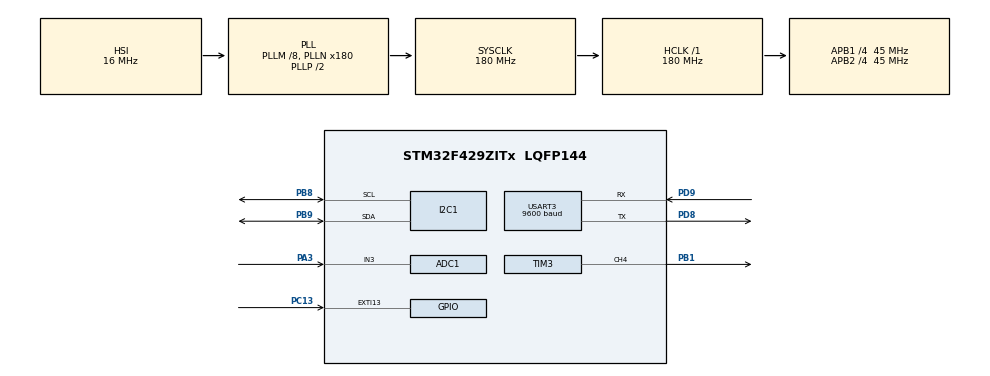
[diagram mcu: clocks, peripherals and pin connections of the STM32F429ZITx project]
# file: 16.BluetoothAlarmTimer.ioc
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ADC1.Channel-2\#ChannelRegularConversion=ADC_CHANNEL_3
ADC1.ExternalTrigConv=ADC_EXTERNALTRIGCONV_T2_TRGO
ADC1.NbrOfConversionFlag=1
ADC1.Rank-2\#ChannelRegularConversion=1
ADC1.SamplingTime-2\#ChannelRegularConversion=ADC_SAMPLETIME_3CYCLES
ADC1.master=1
Mcu.Family=STM32F4
Mcu.Name=STM32F429ZITx
Mcu.Package=LQFP144
NVIC.EXTI15_10_IRQn=true\:0\:0\:false\:true\:true\:4\:true\:true\:true
NVIC.PriorityGroup=NVIC_PRIORITYGROUP_4
NVIC.RCC_IRQn=true\:0\:0\:false\:true\:true\:1\:true\:false\:true
NVIC.TIM2_IRQn=true\:0\:0\:false\:true\:true\:2\:true\:true\:true
NVIC.USART3_IRQn=true\:0\:0\:false\:true\:true\:3\:true\:true\:true
PA13.Mode=Serial_Wire
PA13.Signal=SYS_JTMS-SWDIO
PA14.Mode=Serial_Wire
PA14.Signal=SYS_JTCK-SWCLK
PA3.Signal=ADCx_IN3
PB1.Signal=S_TIM3_CH4
PB8.GPIO_Pu=GPIO_PULLUP
PB8.Mode=I2C
PB8.Signal=I2C1_SCL
PB9.GPIO_Pu=GPIO_PULLUP
PB9.Mode=I2C
PB9.Signal=I2C1_SDA
PC13.GPIO_ModeDefaultEXTI=GPIO_MODE_IT_RISING_FALLING
PC13.Signal=GPXTI13
PC14/OSC32_IN.Mode=LSE-External-Oscillator
PC14/OSC32_IN.Signal=RCC_OSC32_IN
PC15/OSC32_OUT.Mode=LSE-External-Oscillator
PC15/OSC32_OUT.Signal=RCC_OSC32_OUT
PD8.Mode=Asynchronous
PD8.Signal=USART3_TX
PD9.Mode=Asynchronous
PD9.Signal=USART3_RX
ProjectManager.HeapSize=0x200
ProjectManager.StackSize=0x400
ProjectManager.TargetToolchain=STM32CubeIDE
RCC.48MHZClocksFreq_Value=90000000
RCC.AHBFreq_Value=180000000
RCC.APB1CLKDivider=RCC_HCLK_DIV4
RCC.APB1Freq_Value=45000000
RCC.APB1TimFreq_Value=90000000
RCC.APB2CLKDivider=RCC_HCLK_DIV4
RCC.APB2Freq_Value=45000000
RCC.APB2TimFreq_Value=90000000
RCC.CortexFreq_Value=180000000
RCC.HCLKFreq_Value=180000000
RCC.HSE_VALUE=25000000
RCC.HSI_VALUE=16000000
RCC.PLLM=8
RCC.PLLN=180
RCC.RCC_RTC_Clock_Source=RCC_RTCCLKSOURCE_LSE
RCC.RCC_RTC_Clock_SourceVirtual=RCC_RTCCLKSOURCE_LSE
RCC.SYSCLKFreq_VALUE=180000000
RCC.SYSCLKSource=RCC_SYSCLKSOURCE_PLLCLK
RCC.VCOOutputFreq_Value=360000000
RTC.Date=9
RTC.Format=RTC_FORMAT_BCD
RTC.HourFormat=RTC_HOURFORMAT_12
RTC.Hours=12
RTC.Month=RTC_MONTH_JUNE
RTC.WeekDay=RTC_WEEKDAY_THURSDAY
RTC.Year=22
SH.ADCx_IN3.0=ADC1_IN3,IN3
SH.S_TIM3_CH4.0=TIM3_CH4,PWM Generation4 CH4
TIM2.Period=900-1
TIM2.Prescaler=10000-1
TIM2.TIM_MasterOutputTrigger=TIM_TRGO_UPDATE
TIM2.TIM_MasterSlaveMode=TIM_MASTERSLAVEMODE_ENABLE
TIM3.Channel-PWM\ Generation4\ CH4=TIM_CHANNEL_4
TIM3.CounterMode=TIM_COUNTERMODE_DOWN
TIM3.Period=1000-1
TIM3.Prescaler=180-1
USART3.BaudRate=9600
USART3.VirtualMode=VM_ASYNC
VP_RTC_VS_RTC_Activate.Mode=RTC_Enabled
VP_RTC_VS_RTC_Calendar.Mode=RTC_Calendar
VP_TIM2_VS_ClockSourceINT.Mode=Internal
VP_TIM3_VS_ClockSourceINT.Mode=Internal
board=custom

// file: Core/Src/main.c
/* USER CODE BEGIN Header */
/**
 ******************************************************************************
 * @file           : main.c
 * @brief          : Main program body
 ******************************************************************************
 * @attention
 *
 * Copyright (c) 2022 STMicroelectronics.
 * All rights reserved.
 *
 * This software is licensed under terms that can be found in the LICENSE file
 * in the root directory of this software component.
 * If no LICENSE file comes with this software, it is provided AS-IS.
 *
 ******************************************************************************
 */
/* USER CODE END Header */
#include "main.h"
#include "adc.h"
#include "i2c.h"
#include "rtc.h"
#include "tim.h"
#include "usart.h"
#include "gpio.h"

/* USER CODE BEGIN Includes */
#include "string.h"
#include "stdio.h"
#include "LCD.h"

#define LONG_CLICK_MIN 1500  //1.5sec
#define LONG_CLICK_MAX 5000  //5sec

#define DOUBLE_CLICK_MIN 20
#define DOUBLE_CLICK_MAX 120

//flash 메모리 Bank1,Bank2

/* Base address of the Flash sectors Bank 1 */
#define ADDR_FLASH_SECTOR_0     ((uint32_t*)0x08000000) /* Base @ of Sector 0, 16 Kbytes */
#define ADDR_FLASH_SECTOR_1     ((uint32_t*)0x08004000) /* Base @ of Sector 1, 16 Kbytes */
#define ADDR_FLASH_SECTOR_2     ((uint32_t*)0x08008000) /* Base @ of Sector 2, 16 Kbytes */
#define ADDR_FLASH_SECTOR_3     ((uint32_t*)0x0800C000) /* Base @ of Sector 3, 16 Kbytes */
#define ADDR_FLASH_SECTOR_4     ((uint32_t*)0x08010000) /* Base @ of Sector 4, 64 Kbytes */
#define ADDR_FLASH_SECTOR_5     ((uint32_t*)0x08020000) /* Base @ of Sector 5, 128 Kbytes */
#define ADDR_FLASH_SECTOR_6     ((uint32_t*)0x08040000) /* Base @ of Sector 6, 128 Kbytes */
#define ADDR_FLASH_SECTOR_7     ((uint32_t*)0x08060000) /* Base @ of Sector 7, 128 Kbytes */
#define ADDR_FLASH_SECTOR_8     ((uint32_t*)0x08080000) /* Base @ of Sector 8, 128 Kbytes */
#define ADDR_FLASH_SECTOR_9     ((uint32_t*)0x080A0000) /* Base @ of Sector 9, 128 Kbytes */
#define ADDR_FLASH_SECTOR_10    ((uint32_t*)0x080C0000) /* Base @ of Sector 10, 128 Kbytes */
#define ADDR_FLASH_SECTOR_11    ((uint32_t*)0x080E0000) /* Base @ of Sector 11, 128 Kbytes */

/* Base address of the Flash sectors Bank 2 */
#define ADDR_FLASH_SECTOR_12     ((uint32_t*)0x08100000) /* Base @ of Sector 0, 16 Kbytes */
#define ADDR_FLASH_SECTOR_13     ((uint32_t*)0x08104000) /* Base @ of Sector 1, 16 Kbytes */
#define ADDR_FLASH_SECTOR_14     ((uint32_t*)0x08108000) /* Base @ of Sector 2, 16 Kbytes */
#define ADDR_FLASH_SECTOR_15     ((uint32_t*)0x0810C000) /* Base @ of Sector 3, 16 Kbytes */
#define ADDR_FLASH_SECTOR_16     ((uint32_t*)0x08110000) /* Base @ of Sector 4, 64 Kbytes */
#define ADDR_FLASH_SECTOR_17     ((uint32_t*)0x08120000) /* Base @ of Sector 5, 128 Kbytes */
#define ADDR_FLASH_SECTOR_18     ((uint32_t*)0x08140000) /* Base @ of Sector 6, 128 Kbytes */
#define ADDR_FLASH_SECTOR_19     ((uint32_t*)0x08160000) /* Base @ of Sector 7, 128 Kbytes */
#define ADDR_FLASH_SECTOR_20     ((uint32_t*)0x08180000) /* Base @ of Sector 8, 128 Kbytes  */
#define ADDR_FLASH_SECTOR_21     ((uint32_t*)0x081A0000) /* Base @ of Sector 9, 128 Kbytes  */
#define ADDR_FLASH_SECTOR_22     ((uint32_t*)0x081C0000) /* Base @ of Sector 10, 128 Kbytes */
#define ADDR_FLASH_SECTOR_23     ((uint32_t*)0x081E0000) /* Base @ of Sector 11, 128 Kbytes */

//23->22->21.... 사용

#define MAGIC_NUM 0xdeadbeef
#define nv_items ((NVitemTypeDef*)ADDR_FLASH_SECTOR_23)

/* USER CODE END Includes */

/* USER CODE BEGIN PV */

char temp[100];
char ampm[2][3] = { "AM", "PM" };
RTC_TimeTypeDef sTime = { 0 };
RTC_DateTypeDef sDate = { 0 };

uint16_t ADC_Value;

uint32_t last_time;
uint32_t current_time;
uint32_t time_interval;
uint32_t last_time_interval;

uint8_t cursor_change = 0;
uint8_t mode_flag = 0;
uint8_t setting_flag = 0;
uint8_t Alarm_flag = 0;
uint8_t hfsec_flag = 0;

uint32_t timer = 0;
uint32_t timer_hfsec = 0;
uint32_t timer_flag = 0;

uint32_t value;

typedef enum {
	UP = 1, DOWN, RIGHT, LEFT, BASIC
} Clock_button;

typedef enum {
	NORMAL = 0, TIME_SETTING, ALARM_TIME_SETTING, MUSIC_SELECT
} Clock_mode;

typedef enum {
	Three_Bears = 0, Spring_Water
} Clock_music;

typedef struct {
	Clock_mode mode;
	Clock_button button;
	Clock_music music;
} Clock_state;

typedef struct {
	int16_t Hour1;
	int16_t Hour2;
	int16_t Min1;
	int16_t Min2;
	int16_t Sec1;
	int16_t Sec2;
	int16_t Ampm;

} Clock_time;

typedef struct {
	int32_t time;
	GPIO_PinState level;
} ClickInfoDef;

typedef struct{
	uint32_t magic_num;
	Clock_time setting_time;
	Clock_time alarm_time;
	int8_t alarm_music_num;
}NVitemTypeDef;

ClickInfoDef click[3];

Clock_state now_state;

enum notes {
	C = 956, D = 852, E = 758, F = 716, G = 638
};

uint16_t music1_notes[]={
		F,G,G,E,E,D,D,C,C,C,D,E,F,G,G,E,E,D,D,C,C,F,G,D,C,C,C,C,G,D,D,D,G,D,G,G,F,E,C,F,E,C,F,E,D,D,F,G,G,E,E
		,D,D,C,C,C,D,E,F,G,G,E,E,D,D,C,D,D,C,G
};

uint8_t music1_notes_length = sizeof(music1_notes)/sizeof(uint16_t);

NVitemTypeDef default_nvitem = {
		MAGIC_NUM,
		{0,0,0},
		{0,0,0},
		0
};

//uint32_t music2_notes[]={
//
//};

/*
 * 파솔솔미미 레레 도도 도레 미 파솔 솔 미미 레레 도 도 파 솔 레 도 라도도 도라 솔레레 레솔 솔 파
 * 미도 파 미도 파 미 레 레 파솔솔미미 레레 도도 도레 미 파솔 솔 미미 레레 도 레 레 도 솔
 */

/* USER CODE END PV */

void SystemClock_Config(void);
static void MX_NVIC_Init(void);
/* USER CODE BEGIN PFP */
void ADC_button();
void LCD_Cursor(int rownum, int column);
void blink(uint8_t location,Clock_time* buf_time);
void set_time(Clock_time* now_time);
uint16_t Up_Down_value_limit(int16_t value);
void init_time();
void clock(Clock_time* buf_time,Clock_time* now_time,Clock_time* alarm_time);
void Normal_mode(Clock_time* alarm_time);
void Time_or_Alarm_change_mode(Clock_time* buf_time,Clock_time* now_time,Clock_time* alarm_time);
void Music_select_mode();
void Alarm(Clock_time* alarm_time);

void Alarm_Spring_Water_paly();
void Alarm_Three_Bears_play();

/* USER CODE END PFP */

/* USER CODE BEGIN 0 */

int __io_putchar(int ch) {
	HAL_UART_Transmit(&huart3, &ch, 1, 1000);
	return ch;
}

/* USER CODE END 0 */

int main(void) {

	/* MCU Configuration--------------------------------------------------------*/

	/* Reset of all peripherals, Initializes the Flash interface and the Systick. */
	HAL_Init();

	/* Configure the system clock */
	SystemClock_Config();

	/* Initialize all configured peripherals */
	MX_GPIO_Init();
	MX_ADC1_Init();
	MX_RTC_Init();
	MX_USART3_UART_Init();
	MX_I2C1_Init();
	MX_TIM2_Init();
	MX_TIM3_Init();

	/* Initialize interrupts */
	MX_NVIC_Init();
	/* USER CODE BEGIN 2 */
	init();
	HAL_TIM_Base_Init(&htim2);
	HAL_TIM_Base_Start_IT(&htim2);
	HAL_TIM_Base_Init(&htim3);
	init_time();

	HAL_TIM_PWM_Start(&htim3, TIM_CHANNEL_4);

	Clock_time buf_time;
	Clock_time now_time;
	Clock_time alarm_time;

	memset(&buf_time,0,sizeof(Clock_time));
	memset(&now_time,0,sizeof(Clock_time));
	memset(&alarm_time,0,sizeof(Clock_time));

	/* USER CODE END 2 */

	/* Infinite loop */
	/* USER CODE BEGIN WHILE */
	while (1) {

		HAL_RTC_GetTime(&hrtc, &sTime, RTC_FORMAT_BCD);
		HAL_RTC_GetDate(&hrtc, &sDate, RTC_FORMAT_BCD);

		clock(&buf_time,&now_time,&alarm_time);

		/* USER CODE END WHILE */

	}
}

void SystemClock_Config(void) {
	RCC_OscInitTypeDef RCC_OscInitStruct = { 0 };
	RCC_ClkInitTypeDef RCC_ClkInitStruct = { 0 };

	/** Configure the main internal regulator output voltage
	 */
	__HAL_RCC_PWR_CLK_ENABLE();
	__HAL_PWR_VOLTAGESCALING_CONFIG(PWR_REGULATOR_VOLTAGE_SCALE1);

	/** Initializes the RCC Oscillators according to the specified parameters
	 * in the RCC_OscInitTypeDef structure.
	 */
	RCC_OscInitStruct.OscillatorType = RCC_OSCILLATORTYPE_HSI
			| RCC_OSCILLATORTYPE_LSE;
	RCC_OscInitStruct.LSEState = RCC_LSE_ON;
	RCC_OscInitStruct.HSIState = RCC_HSI_ON;
	RCC_OscInitStruct.HSICalibrationValue = RCC_HSICALIBRATION_DEFAULT;
	RCC_OscInitStruct.PLL.PLLState = RCC_PLL_ON;
	RCC_OscInitStruct.PLL.PLLSource = RCC_PLLSOURCE_HSI;
	RCC_OscInitStruct.PLL.PLLM = 8;
	RCC_OscInitStruct.PLL.PLLN = 180;
	RCC_OscInitStruct.PLL.PLLP = RCC_PLLP_DIV2;
	RCC_OscInitStruct.PLL.PLLQ = 4;
	if (HAL_RCC_OscConfig(&RCC_OscInitStruct) != HAL_OK) {
		Error_Handler();
	}

	/** Activate the Over-Drive mode
	 */
	if (HAL_PWREx_EnableOverDrive() != HAL_OK) {
		Error_Handler();
	}

	/** Initializes the CPU, AHB and APB buses clocks
	 */
	RCC_ClkInitStruct.ClockType = RCC_CLOCKTYPE_HCLK | RCC_CLOCKTYPE_SYSCLK
			| RCC_CLOCKTYPE_PCLK1 | RCC_CLOCKTYPE_PCLK2;
	RCC_ClkInitStruct.SYSCLKSource = RCC_SYSCLKSOURCE_PLLCLK;
	RCC_ClkInitStruct.AHBCLKDivider = RCC_SYSCLK_DIV1;
	RCC_ClkInitStruct.APB1CLKDivider = RCC_HCLK_DIV4;
	RCC_ClkInitStruct.APB2CLKDivider = RCC_HCLK_DIV4;

	if (HAL_RCC_ClockConfig(&RCC_ClkInitStruct, FLASH_LATENCY_5) != HAL_OK) {
		Error_Handler();
	}
}

/**
 * @brief NVIC Configuration.
 * @retval None
 */
static void MX_NVIC_Init(void) {
	/* RCC_IRQn interrupt configuration */
	HAL_NVIC_SetPriority(RCC_IRQn, 0, 0);
	HAL_NVIC_EnableIRQ(RCC_IRQn);
	/* TIM2_IRQn interrupt configuration */
	HAL_NVIC_SetPriority(TIM2_IRQn, 0, 0);
	HAL_NVIC_EnableIRQ(TIM2_IRQn);
	/* USART3_IRQn interrupt configuration */
	HAL_NVIC_SetPriority(USART3_IRQn, 0, 0);
	HAL_NVIC_EnableIRQ(USART3_IRQn);
	/* EXTI15_10_IRQn interrupt configuration */
	HAL_NVIC_SetPriority(EXTI15_10_IRQn, 0, 0);
	HAL_NVIC_EnableIRQ(EXTI15_10_IRQn);
}

/* USER CODE BEGIN 4 */
void HAL_GPIO_EXTI_Callback(uint16_t GPIO_Pin) {
	GPIO_PinState pin;
	int i;

	if (GPIO_Pin == GPIO_PIN_13) {
		current_time = HAL_GetTick();
		time_interval = current_time - last_time;
		last_time = current_time;

		pin = HAL_GPIO_ReadPin(GPIOC, GPIO_PIN_13);

		if (time_interval <= 2) // noise
				{
		} else {

			click[2].time = click[1].time;
			click[2].level = click[1].level;

			click[1].time = click[0].time;
			click[1].level = click[0].level;

			click[0].time = time_interval;
			click[0].level = pin;

			if (click[2].level == GPIO_PIN_RESET
					&& click[1].level == GPIO_PIN_SET
					&& click[0].level == GPIO_PIN_RESET) {
				for (i = 0; i < 3; i++) {
					if (click[i].time >= DOUBLE_CLICK_MIN
							&& click[i].time <= DOUBLE_CLICK_MAX) {
						continue;
					} else
						break;
				}
				if (i == 3) {
					now_state.mode = MUSIC_SELECT;
				}
			}

			if (click[0].level== GPIO_PIN_RESET&& click[0].time >=LONG_CLICK_MIN) // long click
					{
				now_state.mode = ALARM_TIME_SETTING;
			} else if (click[0].level== GPIO_PIN_RESET&& click[0].time < LONG_CLICK_MIN && click[0].time > DOUBLE_CLICK_MAX) {
				if (now_state.mode == TIME_SETTING
						|| now_state.mode == ALARM_TIME_SETTING
						|| now_state.mode == MUSIC_SELECT) mode_flag = 1;
				else mode_flag = 0;
				if (mode_flag == 0) now_state.mode = TIME_SETTING;
				else if (mode_flag == 1) now_state.mode = NORMAL;
			}

		}
	}

}

void HAL_TIM_PeriodElapsedCallback(TIM_HandleTypeDef *htim) {

	if (htim->Instance == TIM2) {
		ADC_button();
		timer++;
		if(hfsec_flag == 1){
			timer_flag++;
			if(timer_flag % 5 == 0){
				hfsec_flag = 0;
			}
		}
	}
}

//ADC값 변화에 따른 버튼
void ADC_button() {
	HAL_ADC_Start(&hadc1);
	ADC_Value = HAL_ADC_GetValue(&hadc1);

	if (ADC_Value <= 100) now_state.button = UP;
	else if (ADC_Value >= 800 && ADC_Value <= 900) now_state.button = DOWN;
	else if (ADC_Value >= 1900 && ADC_Value <= 2000) now_state.button = LEFT;
	else if (ADC_Value >= 2900 && ADC_Value <= 3100) now_state.button = RIGHT;
	else now_state.button = BASIC;
}

//LCD_Cursor 위치 변경(16x2)
void LCD_Cursor(int row, int column) {
	if (row == 1) row = 0x40;
	LCD_SendCommand(LCD_ADDR, 0x80 | (row | column));
}

//am 0시 0분 0초 초기화
void init_time() {
	sTime.TimeFormat = 0;
	sTime.Hours = 0;
	sTime.Minutes = 0;
	sTime.Seconds = 0;

	HAL_RTC_SetTime(&hrtc, &sTime, RTC_FORMAT_BCD);
}

//매개변수의 시간으로 setTime
void set_time(Clock_time* now_time) {

	sTime.TimeFormat = now_time->Ampm;
	sTime.Hours = now_time->Hour1 << 4 | now_time->Hour2;
	sTime.Minutes = now_time->Min1 << 4 | now_time->Min2;
	sTime.Seconds = now_time->Sec1 << 4 | now_time->Sec2;

	if (sTime.Hours > 0x12) sTime.Hours = 0x10;

	HAL_RTC_SetTime(&hrtc, &sTime, RTC_FORMAT_BCD);
}

//시간,알람시간 변경시 깜빡거림을 표현
void blink(uint8_t location,Clock_time* buf_time) {

	uint16_t AMpm;
	uint16_t hour;
	uint16_t min;
	uint16_t sec;

	AMpm = buf_time->Ampm;
	hour = buf_time->Hour1 << 4 | buf_time->Hour2;
	min = buf_time->Min1 << 4 | buf_time->Min2;
	sec = buf_time->Sec1 << 4 | buf_time->Sec2;

	sprintf(temp, "%s %02x:%02x:%02x", ampm[AMpm], hour, min, sec);
	LCD_Cursor(1, 0);
	LCD_SendString(LCD_ADDR, temp);

	if (timer % 3 == 0) {
		if (location == 0) {
			LCD_Cursor(1, location);
			LCD_SendString(LCD_ADDR, "  ");
		} else {
			LCD_Cursor(1, location);
			LCD_SendData(LCD_ADDR, ' ');
		}
	}

}

//시간, 알람시간 변경모드 에서 버튼에 따른 값 변화 그리고 시계처럼 제한 두는 함수
uint16_t Up_Down_value_limit(int16_t value) {
	if (now_state.button == UP)
		value++;
	else if (now_state.button == DOWN)
		value--;
	if (value > 9)
		value = 0;
	if (value < 0)
		value = 9;

	return value;
}

//모드에 맞게 동작하는 시계
void clock(Clock_time* buf_time,Clock_time* now_time,Clock_time* alarm_time) {

	if (now_state.mode == NORMAL) Normal_mode(alarm_time);
	else if (now_state.mode == TIME_SETTING|| now_state.mode == ALARM_TIME_SETTING) Time_or_Alarm_change_mode(buf_time,now_time,alarm_time);
	else if (now_state.mode == MUSIC_SELECT) Music_select_mode();

}

//기본적으로 시간이 흐르는 모드
void Normal_mode(Clock_time* alarm_time) {

	LCD_Cursor(0, 0);
	LCD_SendString(LCD_ADDR, "Jin Ho Clock ");
	sprintf(temp, "%s %02x:%02x:%02x", sTime.TimeFormat[ampm], sTime.Hours, sTime.Minutes, sTime.Seconds);
	LCD_Cursor(1, 0);
	LCD_SendString(LCD_ADDR, temp);
	if (Alarm_flag == 1) {
		LCD_Cursor(1, 11);
		LCD_SendString(LCD_ADDR, "  AL");
	} else {
		LCD_Cursor(1, 11);
		LCD_SendString(LCD_ADDR, "     ");
	}

	Alarm(alarm_time);
}

//시간 변경 모드(버튼 한번) 또는 알람 시간 변경 모드(버튼 길게 3초이상)
void Time_or_Alarm_change_mode(Clock_time* buf_time,Clock_time* now_time,Clock_time* alarm_time) {

	if (setting_flag == 0) {
		buf_time->Ampm = sTime.TimeFormat;
		buf_time->Hour1 = (sTime.Hours & 0xf0) >> 4;
		buf_time->Hour2 = sTime.Hours & 0x0f;
		buf_time->Min1 = (sTime.Minutes & 0xf0) >> 4;
		buf_time->Min2 = sTime.Minutes & 0x0f;
		buf_time->Sec1 = (sTime.Seconds & 0xf0) >> 4;
		buf_time->Sec2 = sTime.Seconds & 0x0f;

		setting_flag = 1;
	}

	switch (now_state.button) {
	case RIGHT:
		cursor_change++;
		break;
	case LEFT:
		cursor_change--;
		if (cursor_change < 0)
			cursor_change = 0;
		break;
	default:
		break;
	}

	switch (cursor_change % 7) {
	case 0:
		blink(0,buf_time);
		if (now_state.button == UP || now_state.button == DOWN)
			buf_time->Ampm ^= 1;
		break;
	case 1:
		blink(3,buf_time);
		if (now_state.button == UP || now_state.button == DOWN)
			buf_time->Hour1 ^= 1;
		break;
	case 2:
		blink(4,buf_time);
		buf_time->Hour2 = Up_Down_value_limit(buf_time->Hour2);
		break;
	case 3:
		blink(6,buf_time);
		buf_time->Min1 = Up_Down_value_limit(buf_time->Min1);
		if (buf_time->Min1 > 5)
			buf_time->Min1 = 0;
		break;
	case 4:
		blink(7,buf_time);
		buf_time->Min2 = Up_Down_value_limit(buf_time->Min2);
		break;
	case 5:
		blink(9,buf_time);
		buf_time->Sec1 = Up_Down_value_limit(buf_time->Sec1);
		if (buf_time->Sec1 > 5)
			buf_time->Sec1 = 0;
		break;
	case 6:
		blink(10,buf_time);
		buf_time->Sec2 = Up_Down_value_limit(buf_time->Sec2);
		break;
	default:
		break;
	}

	if ((buf_time->Hour1 << 4 | buf_time->Hour2) > 0x12) buf_time->Hour2 = 0;

	if (now_state.mode == TIME_SETTING) {
		LCD_Cursor(0, 0);
		LCD_SendString(LCD_ADDR, "Time Setting");
		LCD_Cursor(1, 11);
		LCD_SendString(LCD_ADDR, "     ");

		now_time = buf_time;
		now_time->Ampm = buf_time->Ampm;
		now_time->Hour1 = buf_time -> Hour1;
		now_time->Hour2 = buf_time -> Hour2;
		now_time->Min1 = buf_time -> Min1;
		now_time->Min2 = buf_time -> Min2;
		now_time->Sec1 = buf_time -> Sec1;
		now_time->Sec2 = buf_time -> Sec2;

		set_time(now_time);
	}

	else if (now_state.mode == ALARM_TIME_SETTING) {
		LCD_Cursor(0, 0);
		LCD_SendString(LCD_ADDR, "Alarm Setting");
		LCD_Cursor(1, 11);
		LCD_SendString(LCD_ADDR, "  AL  ");

		alarm_time->Ampm = buf_time->Ampm;
		alarm_time->Hour1 = buf_time -> Hour1;
		alarm_time->Hour2 = buf_time -> Hour2;
		alarm_time->Min1 = buf_time -> Min1;
		alarm_time->Min2 = buf_time -> Min2;
		alarm_time->Sec1 = buf_time -> Sec1;
		alarm_time->Sec2 = buf_time -> Sec2;

		Alarm_flag ^= 1;
	}

}

//음악 선택하는 모드(더블클릭)
void Music_select_mode() {

	if (now_state.button == UP || now_state.button == DOWN) now_state.music ^= Spring_Water;

	LCD_Cursor(0, 0);
	LCD_SendString(LCD_ADDR, "Music select");
	LCD_Cursor(1, 0);
	if (now_state.music == Three_Bears) sprintf(temp, "%s", "[Three Bears] ");
	else if (now_state.music == Spring_Water) sprintf(temp, "%s", "[Spring_Water] ");
	LCD_SendString(LCD_ADDR, temp);

}

//현재시간과 알람시간이 같을때 울리기
void Alarm(Clock_time* alarm_time) {

	uint16_t a_ampm;
	uint16_t a_hour;
	uint16_t a_min;
	uint16_t a_sec;

	a_ampm = alarm_time->Ampm;
	a_hour = alarm_time->Hour1 << 4 | alarm_time->Hour2;
	a_min = alarm_time->Min1 << 4 | alarm_time->Min2;
	a_sec = alarm_time->Sec1 << 4 | alarm_time->Sec2;

	if ((Alarm_flag == 1) && (sTime.TimeFormat == a_ampm)
			&& (sTime.Hours == a_hour) && (sTime.Minutes == a_min)
			&& (sTime.Seconds == a_sec) && (now_state.mode == NORMAL)) {

		if(now_state.music == Spring_Water) printf("\r\n Spring_Water_play \r\n");
		else printf("\r\n Three_Bears_play \r\n");

		Alarm_flag = 0;
	}
}

//timer 10씩 커질때마다 1초

//알람 노래 Spring_Water_paly
void Alarm_Spring_Water_paly(){

	uint16_t melody = (uint16_t) (1000000 / music[seq].freq);
	uint8_t num = 0;

	if (default_nvitem.alarm_music_num == 0) num = MEL_NUM;
	else if (default_nvitem.alarm_music_num == 1) num = MEL_NUM;
	else if (default_nvitem.alarm_music_num == 2) num = MEL_NUM + 1;

	if (stop == 1) {
		TIM4->ARR = 2000;
		HAL_TIM_PWM_Stop(&htim3, TIM_CHANNEL_2);
		stop = 0;
	} else {
		if (seq == num) {
			seq = 0;
		} else {
			TIM3->ARR = melody;
			TIM3->CCR2 = melody / 2;
			TIM4->ARR = music[seq].delay * 2000;
			HAL_TIM_PWM_Start(&htim3, TIM_CHANNEL_2);
			stop = 1;

			seq++;
			HAL_GPIO_TogglePin(GPIOB, GPIO_PIN_7);
		}
	}

	for (int i = 0; i < music1_notes_length; i++) {
		TIM3->ARR = music1_notes[i];
		TIM3->CCR4 = TIM3->ARR / 2;
		HAL_Delay(500);
	}

	TIM3->CCR4 = 0;
	HAL_Delay(10);
	TIM3->CCR4 = TIM3->ARR / 2;

}
//알람 노래 Three_Bears_play
void Alarm_Three_Bears_play(){
	/*
	 for (int i = 0; i < bell_length; i++) {
	 TIM3->ARR = bell[i];
	 TIM3->CCR4 = TIM3->ARR / 2;
	 HAL_Delay(500);
	 TIM3->CCR4 = 0;
	 HAL_Delay(interval[i]);
	 TIM3->CCR4 = TIM3->ARR / 2;
	 }
	 */
}

/* USER CODE END 4 */

void Error_Handler(void) {
	__disable_irq();
	while (1) {
	}
}
